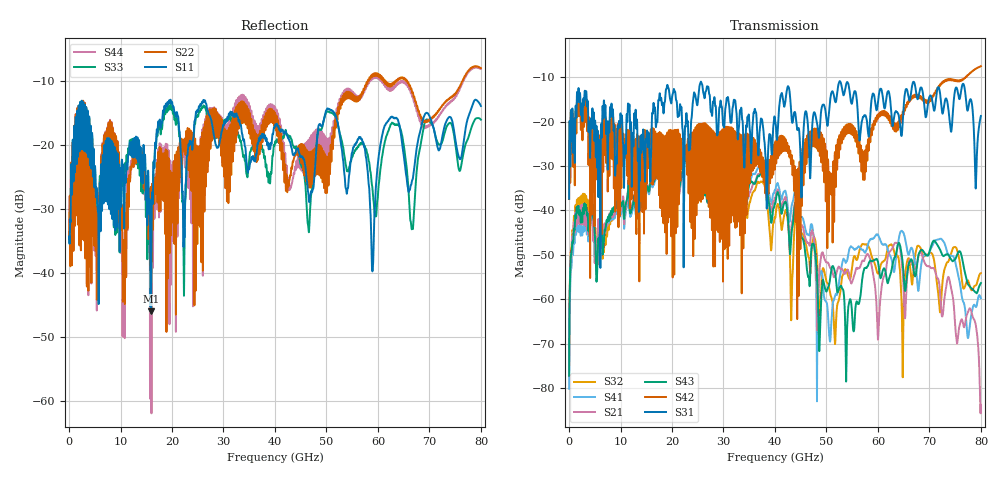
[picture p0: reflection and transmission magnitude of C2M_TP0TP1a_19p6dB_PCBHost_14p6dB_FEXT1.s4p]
!! Reference: shanbhag_3dj_03_2305.pdf
!! CHANNEL DESCRIPTION: TP0_TP1a C2M Channel, PCB Host
!! MODEL DESCRIPTION: s4p, FEXT1
!! CONNECTOR DESCRIPTION: OSFP 200G SMT
!! MODEL STATUS: Developmental
!! PORT DEFINITIONS:
!! Port  1  ----->  Side A  Side B  <-----  Port  2
!! Port  3  ----->  Side A  Side B  <-----  Port  4
# HZ S MA R 50.000000
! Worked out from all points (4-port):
!   8000 points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, 10 MHz to 80 GHz, reference 50 ohm
!   strongest paths, dB at 10 MHz, 20.01 GHz, 40.01 GHz, 60.01 GHz, 80 GHz:
!     S31: -37.4, -14.5, -19.5, -15.7, -18.8
!     S42: -37.4, -22.4, -27.0, -19.3, -7.6
!     S43: -77.2, -36.5, -38.4, -51.5, -56.3
!     S21: -77.2, -37.0, -37.3, -69.0, -83.7
!     S41: -80.1, -37.6, -35.5, -45.4, -59.8
!     S32: -74.6, -35.4, -41.6, -54.2, -54.1
!   lowest |S11| = -46.0 dB at 15.94 GHz (marker M1), VSWR 1.01, Z = 49.9 - j0.496 ohm
!   |S11| at or under -10 dB: start of sweep to end of sweep
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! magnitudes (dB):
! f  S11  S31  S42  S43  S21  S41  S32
! 10 MHz  -34.6  -37.4  -37.4  -77.2  -77.2  -80.1  -74.6
! 1.55 GHz  -15.5  -13.4  -15.0  -39.4  -39.8  -42.9  -37.6
! 15.94 GHz  -46.0  -27.4  -23.1  -33.1  -33.3  -33.8  -33.0
! 37.58 GHz  -18.6  -20.4  -29.0  -31.8  -31.5  -30.6  -33.6
! 53.91 GHz  -27.4  -11.3  -22.3  -70.8  -53.6  -51.4  -53.7
! 68.32 GHz  -17.4  -12.3  -14.4  -49.0  -49.4  -53.0  -48.5
! 80 GHz  -13.9  -18.8  -7.6  -56.3  -83.7  -59.8  -54.1
